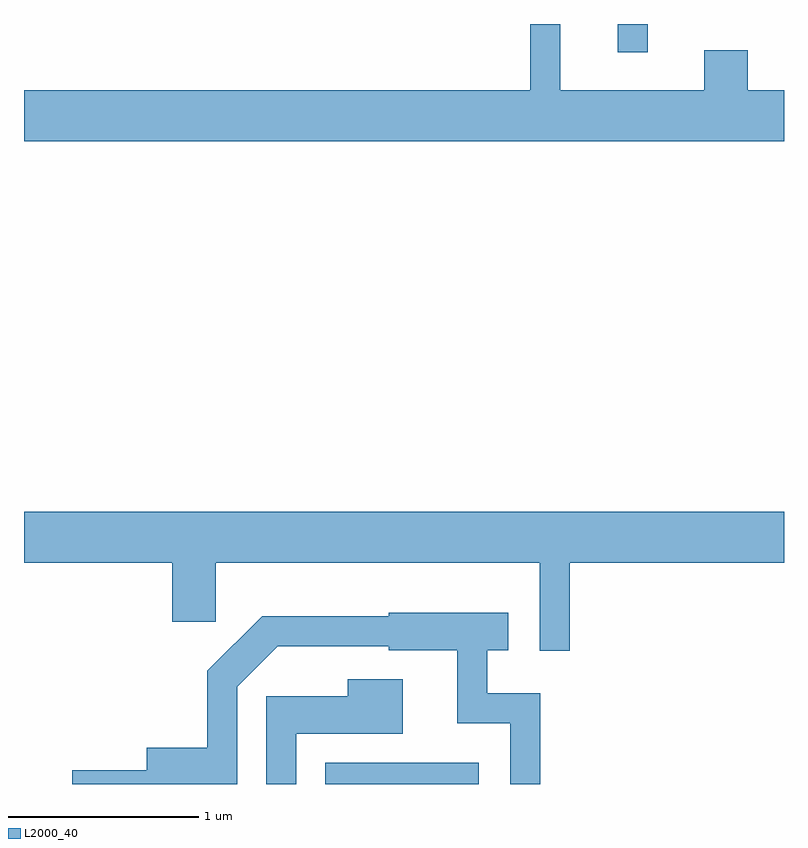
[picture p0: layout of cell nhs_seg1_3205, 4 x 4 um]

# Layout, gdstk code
import gdstk
lib = gdstk.Library(unit=1e-6, precision=1e-09)
def R(c, l, rs):  # rectangles x0, y0, x1, y1
    for r in rs: c.add(gdstk.rectangle(r[:2], r[2:], *l))
def P(c, l, *ps):  # polygons
    for p in ps: c.add(gdstk.Polygon(p, *l))
L2000_40 = (2000, 40)

nhs_seg1_3205 = lib.new_cell('nhs_seg1_3205')
R(nhs_seg1_3205, L2000_40, [(283.196,931.712,284.004,931.824), (284.736,935.563,284.894,935.712)])
P(nhs_seg1_3205, L2000_40, [(285.611,935.364),(285.419,935.364),(285.419,935.574),(285.191,935.574),(285.191,935.364),(284.434,935.364),(284.434,935.712),(284.276,935.712),(284.276,935.364),(281.611,935.364),(281.611,935.096),(285.611,935.096)],
  [(284.484,932.876),(285.611,932.876),(285.611,933.144),(281.611,933.144),(281.611,932.876),(282.391,932.876),(282.391,932.566),(282.619,932.566),(282.619,932.876),(284.326,932.876),(284.326,932.413),(284.484,932.413)],
  [(282.734,932.224),(282.947,932.436),(283.531,932.436),(283.531,932.416),(283.891,932.416),(283.891,932.031),(284.171,932.031),(284.171,931.712),(284.329,931.712),(284.329,932.189),(284.049,932.189),(284.049,932.416),(284.159,932.416),(284.159,932.614),(283.531,932.614),(283.531,932.594),(282.864,932.594),(282.576,932.307),(282.576,931.904),(282.256,931.904),(282.256,931.784),(281.866,931.784),(281.866,931.712),(282.734,931.712)],
  [(283.044,931.976),(283.604,931.976),(283.604,932.264),(283.316,932.264),(283.316,932.174),(282.886,932.174),(282.886,931.712),(283.044,931.712)])

lib.write_gds('nhs_seg1_3205.gds')
